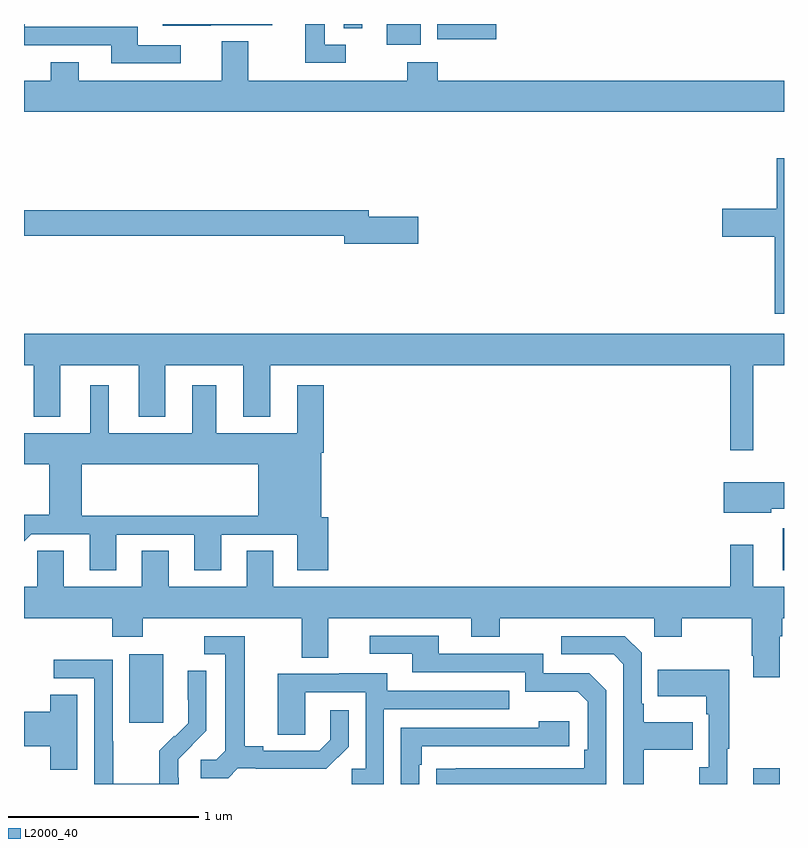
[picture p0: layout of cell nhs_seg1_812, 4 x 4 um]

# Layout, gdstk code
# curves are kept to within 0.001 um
import gdstk
lib = gdstk.Library(unit=1e-6, precision=1e-09)
def R(c, l, rs):  # rectangles x0, y0, x1, y1
    for r in rs: c.add(gdstk.rectangle(r[:2], r[2:], *l))
def P(c, l, *ps):  # polygons
    for p in ps: c.add(gdstk.Polygon(p, *l))
L2000_40 = (2000, 40)

nhs_seg1_812 = lib.new_cell('nhs_seg1_812')
R(nhs_seg1_812, L2000_40, [(158.837,544.199,158.977,544.282), (155.555,544.521,155.734,544.882), (158.993,545.325,159,545.544), (156.908,548.09,157.087,548.199), (157.176,548.119,157.486,548.199), (156.684,548.176,156.78,548.199)])
P(nhs_seg1_812, L2000_40, [(156.694,548.091),(156.583,548.091),(156.583,548.199),(156.479,548.199),(156.479,547.995),(156.694,547.995)],
  [(155.983,548.193),(156.307,548.193),(156.307,548.199),(155.729,548.199),(155.729,548.189),(155.983,548.189)],
  [(155.824,548.088),(155.599,548.088),(155.599,548.184),(155.004,548.184),(155.004,548.199),(155,548.199),(155,548.088),(155.459,548.088),(155.459,547.992),(155.824,547.992)],
  [(159,547.9),(157.178,547.9),(157.178,547.999),(157.018,547.999),(157.018,547.9),(156.181,547.9),(156.181,548.108),(156.041,548.108),(156.041,547.9),(155.287,547.9),(155.287,547.999),(155.14,547.999),(155.14,547.9),(155,547.9),(155,547.736),(159,547.736)],
  [(159,547.492),(158.963,547.492),(158.963,547.226),(158.676,547.226),(158.676,547.079),(158.951,547.079),(158.951,546.675),(159,546.675)],
  [(157.075,547.184),(156.814,547.184),(156.814,547.22),(155,547.22),(155,547.084),(156.686,547.084),(156.686,547.042),(157.075,547.042)],
  [(155,546.404),(155.051,546.404),(155.051,546.131),(155.191,546.131),(155.191,546.404),(155.603,546.404),(155.603,546.131),(155.743,546.131),(155.743,546.404),(156.155,546.404),(156.155,546.131),(156.295,546.131),(156.295,546.404),(158.718,546.404),(158.718,545.955),(158.839,545.955),(158.839,546.404),(159,546.404),(159,546.568),(155,546.568)],
  [(155.037,545.514),(155.345,545.514),(155.345,545.325),(155.485,545.325),(155.485,545.511),(155.897,545.511),(155.897,545.325),(156.037,545.325),(156.037,545.511),(156.437,545.511),(156.437,545.325),(156.602,545.325),(156.602,545.604),(156.565,545.604),(156.565,545.942),(156.578,545.942),(156.578,546.298),(156.437,546.298),(156.437,546.046),(156.013,546.046),(156.013,546.298),(155.885,546.298),(155.885,546.046),(155.446,546.046),(155.446,546.298),(155.348,546.298),(155.348,546.046),(155,546.046),(155,545.882),(155.132,545.882),(155.132,545.615),(155,545.615),(155,545.612),(155.303,545.612),(155.303,545.882),(156.233,545.882),(156.233,545.612),(155,545.612),(155,545.477)],
  [(158.934,545.648),(159,545.648),(159,545.788),(158.684,545.788),(158.684,545.627),(158.934,545.627)],
  [(158.977,544.976),(158.99,544.976),(158.99,545.072),(159,545.072),(159,545.236),(158.839,545.236),(158.839,545.458),(158.718,545.458),(158.718,545.236),(156.313,545.236),(156.313,545.426),(156.173,545.426),(156.173,545.236),(155.761,545.236),(155.761,545.426),(155.621,545.426),(155.621,545.236),(155.209,545.236),(155.209,545.426),(155.07,545.426),(155.07,545.236),(155,545.236),(155,545.072),(155.465,545.072),(155.465,544.973),(155.625,544.973),(155.625,545.072),(156.461,545.072),(156.461,544.864),(156.601,544.864),(156.601,545.072),(157.355,545.072),(157.355,544.973),(157.503,544.973),(157.503,545.072),(158.316,545.072),(158.316,544.973),(158.463,544.973),(158.463,545.072),(158.83,545.072),(158.83,544.873),(158.837,544.873),(158.837,544.761),(158.977,544.761)],
  [(158.064,544.692),(157.974,544.782),(157.734,544.782),(157.734,544.884),(157.183,544.884),(157.183,544.98),(156.819,544.98),(156.819,544.884),(157.043,544.884),(157.043,544.788),(157.638,544.788),(157.638,544.685),(157.915,544.685),(157.968,544.632),(157.968,544.378),(157.948,544.378),(157.948,544.281),(157.171,544.28),(157.171,544.199),(158.064,544.199)],
  [(156.126,544.281),(156.22,544.281),(156.22,544.278),(156.592,544.278),(156.708,544.394),(156.708,544.588),(156.611,544.588),(156.611,544.431),(156.554,544.374),(156.259,544.374),(156.259,544.397),(156.163,544.397),(156.163,544.977),(155.949,544.977),(155.949,544.881),(156.059,544.881),(156.059,544.373),(156.012,544.326),(155.931,544.326),(155.931,544.229),(156.074,544.229)],
  [(158.263,544.378),(158.519,544.378),(158.519,544.525),(158.263,544.525),(158.263,544.621),(158.25,544.621),(158.25,544.89),(158.163,544.977),(157.827,544.977),(157.827,544.881),(158.103,544.881),(158.154,544.83),(158.154,544.199),(158.263,544.199)],
  [(155.814,544.233),(155.812,544.233),(155.812,544.33),(155.958,544.478),(155.958,544.796),(155.862,544.796),(155.862,544.642),(155.864,544.642),(155.864,544.52),(155.793,544.449),(155.79,544.452),(155.713,544.375),(155.713,544.201),(155.469,544.201),(155.469,544.424),(155.466,544.424),(155.466,544.854),(155.157,544.854),(155.157,544.755),(155.37,544.755),(155.37,544.199),(155.814,544.199)],
  [(158.701,544.385),(158.713,544.385),(158.713,544.801),(158.335,544.801),(158.335,544.661),(158.592,544.661),(158.592,544.565),(158.604,544.565),(158.604,544.286),(158.553,544.286),(158.553,544.199),(158.701,544.199)],
  [(156.894,544.593),(157.553,544.593),(157.553,544.689),(156.913,544.689),(156.913,544.783),(156.659,544.783),(156.659,544.779),(156.335,544.779),(156.335,544.459),(156.48,544.459),(156.48,544.683),(156.798,544.683),(156.798,544.278),(156.726,544.278),(156.726,544.199),(156.894,544.199)],
  [(155.281,544.67),(155.138,544.67),(155.138,544.58),(155,544.58),(155,544.397),(155.138,544.397),(155.138,544.273),(155.281,544.273)],
  [(157.08,544.301),(157.093,544.301),(157.093,544.398),(157.87,544.398),(157.87,544.528),(157.709,544.528),(157.709,544.494),(156.984,544.494),(156.984,544.199),(157.08,544.199)])

lib.write_gds('nhs_seg1_812.gds')
